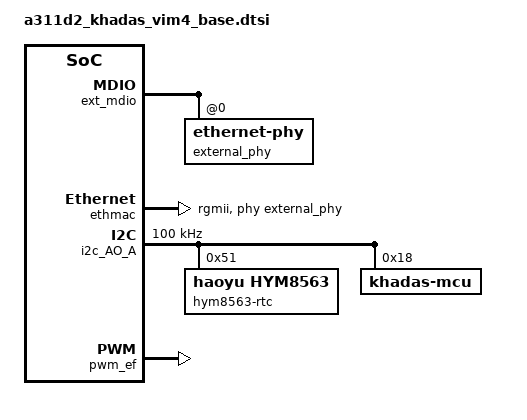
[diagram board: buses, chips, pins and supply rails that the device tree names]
/ {
	memory@00000000 {
		device_type = "memory";
		linux,usable-memory = <0x00000000 0x00000000 0x00000000 0xE0000000
		                       0x00000001 0x00000000 0x00000001 0x20000000>;
	};

	gpioleds {
		sys_led {
			label = "sys_led";
			gpios = <&gpio GPIOD_6 GPIO_ACTIVE_HIGH>;
			linux,default-trigger = "default-on";
		};
	};

	gpio_keypad {
		key-gpios = <&gpio GPIOD_4 GPIO_ACTIVE_HIGH>;
	};
};

&ext_mdio {
	external_phy: ethernet-phy@0 {
		max-speed = <1000>;
	};
};

&ethmac {
	pinctrl-0 = <&eth_pins>, <&eth_rgmii_pins>;
	pinctrl-names = "default";
	status = "okay";
	phy-mode = "rgmii";
	phy-handle = <&external_phy>;
	mc_val = <0x1621>;
	amlogic,tx-delay-ns = <2>;
};

&i2c_AO_A {
	status = "okay";
	pinctrl-names = "default";
	pinctrl-0 = <&i2c0_ao_pins1>;
	clock-frequency = <100000>; /* default 100k */

	hym8563-rtc@51 {
		compatible = "haoyu,hym8563";
		reg = <0x51>;
	};

	khadas-mcu@18 {
		compatible = "khadas-mcu";
		reg = <0x18>;
		fan,trig_temp_level0 = <50>;
		fan,trig_temp_level1 = <60>;
		fan,trig_temp_level2 = <70>;
		fan,trig_temp_level3 = <80>;
		hwver = "VIM4.V12"; /* Will be updated in uboot. */
	};
};

&vrtc {
	status = "disabled";
};

&pwm_ef {
	status = "okay";
	pinctrl-names = "default";
	pinctrl-0 = <&pwm_f_pins>;
};
